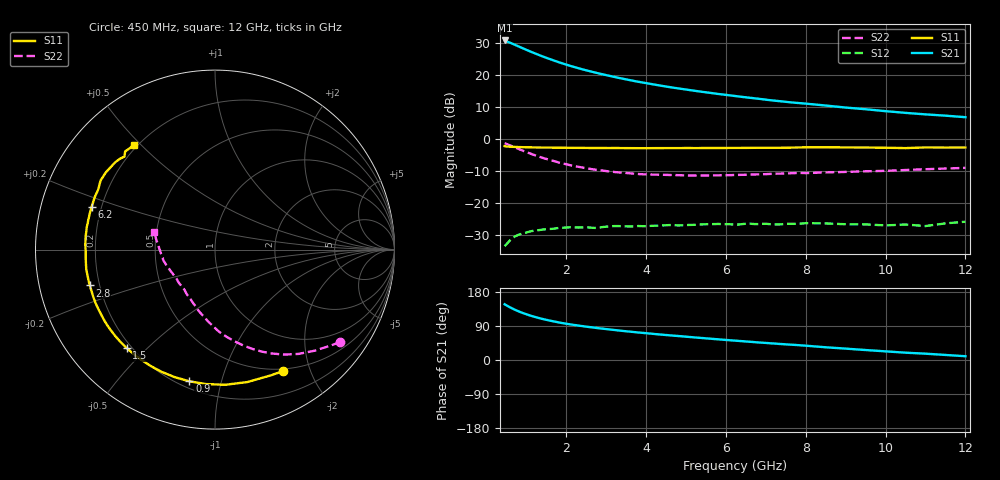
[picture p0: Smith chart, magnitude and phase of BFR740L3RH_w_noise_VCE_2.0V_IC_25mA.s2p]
! (c) 2012  Infineon Technologies AG, Munich
! Infineon Technologies  Discrete & RF Semiconductors
! BFR740L3RH
! VCE =  2.0 V,  IC =  25 mA
! Common Emitter S-Parameters:  May 2012
# GHz  S  MA  R  50
!  f  S11  S21  S12  S22
! GHz  MAG  ANG  MAG  ANG  MAG  ANG  MAG  ANG
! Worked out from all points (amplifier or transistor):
!   85 points, 450 MHz to 12 GHz, reference 50 ohm
!   highest |S21| = 30.9 dB at 450 MHz (marker M1)
!   |S21| within 3 dB of that: start of sweep to 1.007 GHz
!   unconditionally stable (mu >= 1): 6.135 GHz to end of sweep
!   at 1.8 GHz: K = 0.30, MSG = 26.0 dB, |S12| = -27.9 dB
!   at 4.6 GHz: K = 0.76, MSG = 21.6 dB, |S12| = -26.9 dB
!   at 12 GHz: K = 1.91, MAG = 10.9 dB, |S12| = -25.9 dB
!   lowest NFmin = 1.03 dB at 450 MHz
!   S11 on the Smith chart (normalised r, x): 450 MHz: 0.47, -1.61; 900 MHz: 0.24, -0.80; 1.5 GHz: 0.18, -0.43; 2.8 GHz: 0.16, -0.14; 6.2 GHz: 0.16, +0.16; 12 GHz: 0.18, +0.48
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0.45  0.7761 -60.6  35.18 147.0  0.021 68.1  0.8661 -36.5
0.6  0.7596 -76.3  32.17 138.2  0.0265 52.0  0.7901 -45.5
0.7  0.7554 -85.6  30.24 133.0  0.0296 48.1  0.7446 -51.3
0.8  0.7509 -93.8  28.36 128.4  0.0318 44.7  0.7013 -56.5
0.9  0.7476 -101.0  26.62 124.2  0.0332 41.5  0.6616 -61.1
1.1  0.743 -113.6  23.55 117.0  0.0359 36.9  0.5917 -69.3
1.2  0.7409 -118.9  22.2 113.9  0.0368 35.4  0.5615 -73.0
1.4  0.7376 -128.0  19.8 108.3  0.0382 31.9  0.5097 -79.6
1.5  0.7367 -131.9  18.78 105.9  0.0388 29.9  0.4884 -82.7
1.7  0.7352 -139.1  16.92 101.4  0.0396 27.5  0.4502 -88.2
1.9  0.7335 -145.1  15.36 97.4  0.0408 26.7  0.416 -93.1
2.1  0.7302 -150.2  14.04 93.9  0.0416 24.0  0.3895 -97.5
2.4  0.7287 -156.8  12.41 89.4  0.0413 22.7  0.3587 -103.7
2.8  0.7252 -164.0  10.74 84.0  0.0408 21.4  0.3271 -110.7
3.6  0.7222 -175.5  8.376 74.7  0.0427 19.7  0.2908 -123.5
4.3  0.723 177.3  6.99 67.7  0.044 19.3  0.2769 -131.9
5.3  0.7245 167.8  5.622 58.8  0.0458 18.3  0.2685 -144.0
6.2  0.7279 160.8  4.758 51.3  0.0458 19.3  0.274 -153.5
6.3  0.728 160.0  4.675 50.5  0.0458 18.5  0.2748 -154.4
8.5  0.7452 144.8  3.358 33.6  0.0477 17.4  0.3008 -175.1
10.5  0.7233 134.2  2.579 19.3  0.0459 22.9  0.3279 171.8
12  0.7392 127.8  2.207 10.0  0.0508 29.6  0.3544 163.7
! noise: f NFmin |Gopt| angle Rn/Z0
0.45  1.03  0.05  178  0.12
0.9  1.04  0.05  160  0.11
1.5  1.05  0.07  144  0.11
1.9  1.06  0.09  139  0.11
2.4  1.08  0.11  136  0.1
3.5  1.13  0.13  142  0.1
5.5  1.26  0.2  154  0.09
8  1.46  0.27  180  0.09
10  1.64  0.31  -162  0.1
12  1.82  0.36  -140  0.11
